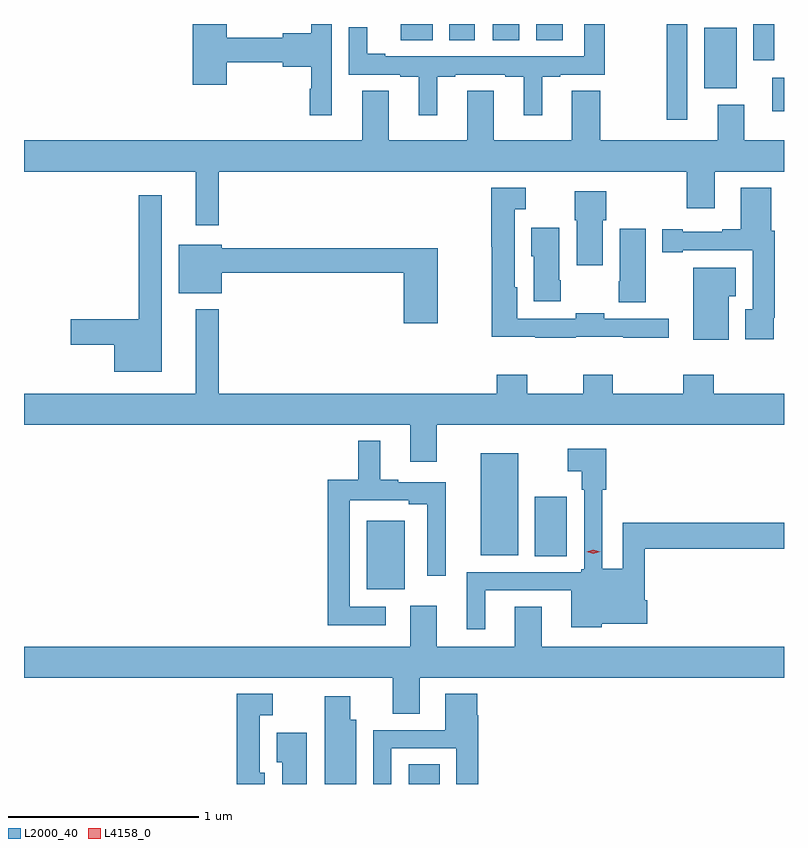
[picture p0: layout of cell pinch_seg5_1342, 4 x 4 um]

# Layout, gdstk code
import gdstk
lib = gdstk.Library(unit=1e-6, precision=1e-09)
def R(c, l, rs):  # rectangles x0, y0, x1, y1
    for r in rs: c.add(gdstk.rectangle(r[:2], r[2:], *l))
def P(c, l, *ps):  # polygons
    for p in ps: c.add(gdstk.Polygon(p, *l))
L2000_40 = (2000, 40)
L4158_0 = (4158, 0)

pinch_seg5_1342 = lib.new_cell('pinch_seg5_1342')
R(pinch_seg5_1342, L2000_40, [(350.507,880.177,350.668,880.28), (350.285,881.201,350.485,881.563), (351.17,881.377,351.337,881.689), (350.885,881.381,351.082,881.917), (351.864,883.674,351.972,884.177), (352.418,883.718,352.481,883.894), (352.061,883.838,352.231,884.158), (352.319,883.986,352.429,884.177), (350.465,884.092,350.632,884.177), (350.72,884.092,350.854,884.177), (350.948,884.092,351.088,884.177), (351.176,884.092,351.316,884.177)])
P(pinch_seg5_1342, L2000_40, [(350.1,884.177),(349.992,884.177),(349.992,884.129),(349.844,884.129),(349.844,884.105),(349.548,884.105),(349.548,884.177),(349.37,884.177),(349.37,883.857),(349.548,883.857),(349.548,883.977),(349.844,883.977),(349.844,883.951),(349.992,883.951),(349.992,883.836),(349.984,883.836),(349.984,883.698),(350.1,883.698)],
  [(350.656,883.899),(350.752,883.899),(350.752,883.911),(351.014,883.911),(351.014,883.899),(351.11,883.899),(351.11,883.698),(351.208,883.698),(351.208,883.899),(351.304,883.899),(351.304,883.911),(351.538,883.911),(351.538,884.177),(351.429,884.177),(351.429,884.007),(350.383,884.007),(350.383,884.02),(350.287,884.02),(350.287,884.161),(350.19,884.161),(350.19,883.911),(350.462,883.911),(350.462,883.899),(350.558,883.899),(350.558,883.698),(350.656,883.698)],
  [(349.507,883.4),(351.97,883.4),(351.97,883.206),(352.117,883.206),(352.117,883.4),(352.481,883.4),(352.481,883.564),(352.273,883.564),(352.273,883.753),(352.133,883.753),(352.133,883.564),(351.513,883.564),(351.513,883.826),(351.365,883.826),(351.365,883.564),(350.953,883.564),(350.953,883.826),(350.813,883.826),(350.813,883.564),(350.401,883.564),(350.401,883.826),(350.261,883.826),(350.261,883.564),(348.481,883.564),(348.481,883.4),(349.385,883.4),(349.385,883.119),(349.507,883.119)],
  [(352.426,882.631),(352.433,882.631),(352.433,883.09),(352.414,883.09),(352.414,883.315),(352.253,883.315),(352.253,883.096),(352.157,883.096),(352.157,883.083),(351.949,883.083),(351.949,883.096),(351.839,883.096),(351.839,882.975),(351.949,882.975),(351.949,882.987),(352.317,882.987),(352.317,882.675),(352.277,882.675),(352.277,882.519),(352.426,882.519)],
  [(351.384,882.53),(351.634,882.53),(351.634,882.526),(351.874,882.526),(351.874,882.627),(351.534,882.627),(351.534,882.655),(351.384,882.655),(351.384,882.627),(351.076,882.627),(351.076,882.792),(351.064,882.792),(351.064,883.202),(351.121,883.202),(351.121,883.315),(350.939,883.315),(350.939,883.005),(350.944,883.005),(350.944,882.53),(351.172,882.53),(351.172,882.526),(351.384,882.526)],
  [(351.526,883.143),(351.546,883.143),(351.546,883.297),(351.38,883.297),(351.38,883.143),(351.389,883.143),(351.389,882.906),(351.526,882.906)],
  [(349.207,883.276),(349.086,883.276),(349.086,882.623),(348.726,882.623),(348.726,882.488),(348.956,882.488),(348.956,882.347),(349.207,882.347)],
  [(351.306,882.829),(351.298,882.829),(351.298,883.105),(351.152,883.105),(351.152,882.954),(351.164,882.954),(351.164,882.717),(351.306,882.717)],
  [(351.754,883.099),(351.617,883.099),(351.617,882.823),(351.61,882.823),(351.61,882.712),(351.754,882.712)],
  [(350.658,882.997),(349.522,882.997),(349.522,883.015),(349.295,883.015),(349.295,882.761),(349.522,882.761),(349.522,882.868),(350.48,882.868),(350.48,882.603),(350.658,882.603)],
  [(352.189,882.743),(352.228,882.743),(352.228,882.895),(352.004,882.895),(352.004,882.515),(352.189,882.515)],
  [(350.653,882.068),(352.481,882.068),(352.481,882.232),(352.112,882.232),(352.112,882.331),(351.952,882.331),(351.952,882.232),(351.579,882.232),(351.579,882.331),(351.424,882.331),(351.424,882.232),(351.129,882.232),(351.129,882.331),(350.969,882.331),(350.969,882.232),(349.507,882.232),(349.507,882.676),(349.385,882.676),(349.385,882.232),(348.481,882.232),(348.481,882.068),(350.513,882.068),(350.513,881.874),(350.653,881.874)],
  [(350.386,881.109),(350.196,881.109),(350.196,881.67),(350.507,881.67),(350.507,881.65),(350.604,881.65),(350.604,881.274),(350.702,881.274),(350.702,881.766),(350.452,881.766),(350.452,881.779),(350.356,881.779),(350.356,881.983),(350.239,881.983),(350.239,881.779),(350.08,881.779),(350.08,881.013),(350.386,881.013)],
  [(350.908,881.196),(351.362,881.196),(351.362,881.003),(351.522,881.003),(351.522,881.021),(351.76,881.021),(351.76,881.143),(351.749,881.143),(351.749,881.416),(352.481,881.416),(352.481,881.552),(351.633,881.552),(351.633,881.311),(351.525,881.311),(351.525,881.726),(351.545,881.726),(351.545,881.941),(351.342,881.941),(351.342,881.822),(351.417,881.822),(351.417,881.726),(351.429,881.726),(351.429,881.307),(351.414,881.307),(351.414,881.292),(350.81,881.292),(350.81,880.992),(350.908,880.992)],
  [(350.563,880.736),(352.481,880.736),(352.481,880.9),(351.205,880.9),(351.205,881.111),(351.065,881.111),(351.065,880.9),(350.653,880.9),(350.653,881.116),(350.513,881.116),(350.513,880.9),(348.481,880.9),(348.481,880.736),(350.423,880.736),(350.423,880.546),(350.563,880.546)],
  [(350.415,880.365),(350.757,880.365),(350.757,880.177),(350.873,880.177),(350.873,880.538),(350.867,880.538),(350.867,880.651),(350.699,880.651),(350.699,880.461),(350.319,880.461),(350.319,880.177),(350.415,880.177)],
  [(349.747,880.236),(349.723,880.236),(349.723,880.538),(349.789,880.538),(349.789,880.651),(349.602,880.651),(349.602,880.177),(349.747,880.177)],
  [(350.23,880.516),(350.197,880.516),(350.197,880.639),(350.063,880.639),(350.063,880.177),(350.23,880.177)],
  [(349.969,880.447),(349.811,880.447),(349.811,880.291),(349.841,880.291),(349.841,880.177),(349.969,880.177)])
P(pinch_seg5_1342, L4158_0, [(351.478,881.39),(351.442,881.4),(351.442,881.4),(351.442,881.4),(351.478,881.41),(351.514,881.4),(351.514,881.4),(351.514,881.4)])

lib.write_gds('pinch_seg5_1342.gds')
